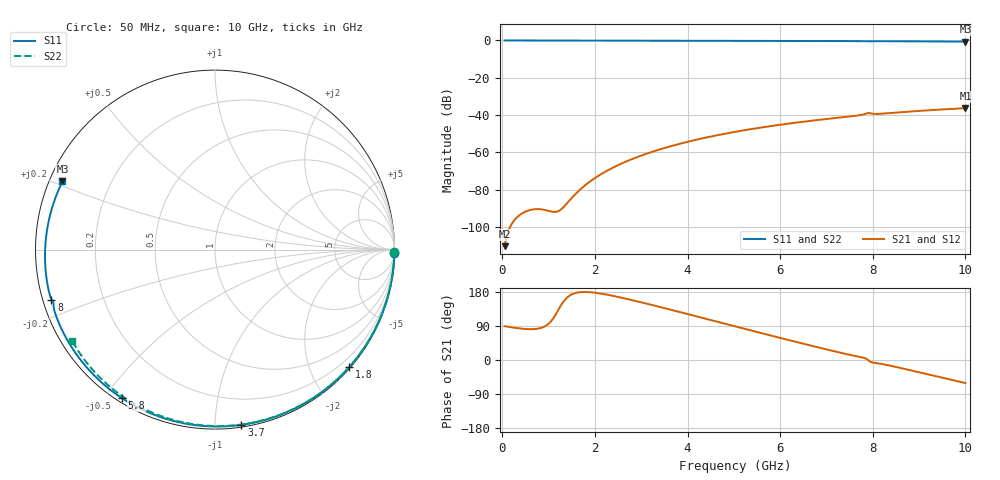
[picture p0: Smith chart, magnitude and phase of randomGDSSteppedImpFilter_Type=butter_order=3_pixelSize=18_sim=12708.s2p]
! freq	dB(S11)	phase(S11)	dB(S12)	phase(S12)
!  dB(S21)	phase(S21)	dB(S22)	phase(S22)
!S-par simulation data
#  GHz  S  DB  R 50
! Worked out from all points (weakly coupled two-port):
!   200 points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, 50 MHz to 10 GHz, reference 50 ohm
!   highest |S21| = -36.37 dB at 10 GHz (marker M1); lowest = -110.4 dB at 50 MHz (marker M2)
!   lowest |S11| = -0.6 dB at 10 GHz (marker M3), VSWR 27.92, Z = 1.87 + j10.6 ohm
!   |S11| at or under -10 dB: nowhere
!   |S22| runs from -0.5 to 0.0 dB; largest |S21 - S12| = 0
!   S11 on the Smith chart (normalised r, x): 50 MHz: 1, -97; 1.8 GHz: 0.02, -2.67; 3.7 GHz: 0.01, -1.16; 5.8 GHz: 0.02, -0.55; 8 GHz: 0.02, -0.15; 10 GHz: 0.04, +0.21
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0.05  -0.00 -1.2  -110.41 89.2  -110.41 89.2  -0.00 -0.9
0.8  -0.02 -18.5  -90.54 83.5  -90.54 83.5  -0.02 -13.6
1.2  -0.03 -27.6  -91.74 130.1  -91.74 130.1  -0.03 -20.4
1.65  -0.05 -37.7  -80.72 178.5  -80.72 178.5  -0.04 -27.9
1.7  -0.05 -38.9  -79.58 179.2  -79.58 179.2  -0.04 -28.7
1.75  -0.05 -40.0  -78.51 179.5  -78.51 179.5  -0.04 -29.5
1.8  -0.05 -41.1  -77.48 179.5  -77.48 179.5  -0.04 -30.3
2.1  -0.06 -47.7  -72.26 175.8  -72.26 175.8  -0.04 -35.3
2.45  -0.07 -55.3  -67.51 167.8  -67.51 167.8  -0.05 -41.0
2.9  -0.08 -64.9  -62.72 155.2  -62.72 155.2  -0.06 -48.2
3.4  -0.10 -75.3  -58.49 140.1  -58.49 140.1  -0.07 -56.0
3.7  -0.11 -81.4  -56.33 130.7  -56.33 130.7  -0.08 -60.7
4.35  -0.13 -94.4  -52.39 110.2  -52.39 110.2  -0.10 -70.6
5.05  -0.17 -107.9  -48.95 88.1  -48.95 88.1  -0.12 -80.9
5.8  -0.21 -122.1  -45.95 64.5  -45.95 64.5  -0.16 -91.6
6.7  -0.27 -138.9  -43.02 37.0  -43.02 37.0  -0.20 -104.0
7.65  -0.36 -156.8  -40.35 9.8  -40.35 9.8  -0.27 -116.7
7.9  -0.47 -161.5  -38.93 -0.3  -38.93 -0.3  -0.28 -120.0
8  -0.42 -163.0  -39.33 -6.7  -39.33 -6.7  -0.29 -121.3
8.35  -0.42 -169.9  -39.02 -14.3  -39.02 -14.3  -0.32 -125.9
9.2  -0.52 173.0  -37.49 -38.1  -37.49 -38.1  -0.41 -137.0
10  -0.62 155.9  -36.37 -60.8  -36.37 -60.8  -0.50 -147.3
